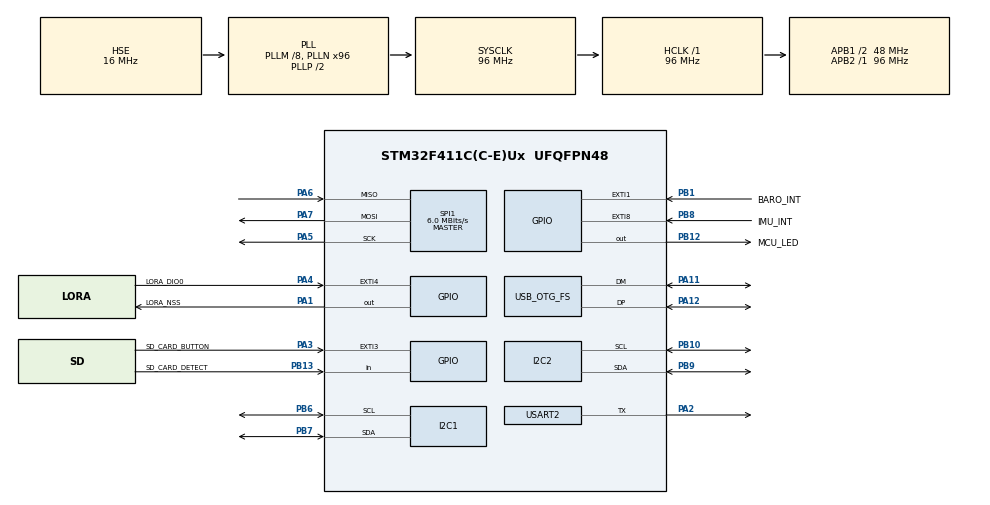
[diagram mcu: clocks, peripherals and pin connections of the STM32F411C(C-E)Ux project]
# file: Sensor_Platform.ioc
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Dma.Request0=USART2_TX
Dma.USART2_TX.0.Direction=DMA_MEMORY_TO_PERIPH
Dma.USART2_TX.0.FIFOMode=DMA_FIFOMODE_DISABLE
Dma.USART2_TX.0.Instance=DMA1_Stream6
Dma.USART2_TX.0.MemDataAlignment=DMA_MDATAALIGN_BYTE
Dma.USART2_TX.0.MemInc=DMA_MINC_ENABLE
Dma.USART2_TX.0.Mode=DMA_NORMAL
Dma.USART2_TX.0.PeriphDataAlignment=DMA_PDATAALIGN_BYTE
Dma.USART2_TX.0.PeriphInc=DMA_PINC_DISABLE
Dma.USART2_TX.0.Priority=DMA_PRIORITY_VERY_HIGH
I2C1.I2C_Mode=I2C_Standard
Mcu.Family=STM32F4
Mcu.Name=STM32F411C(C-E)Ux
Mcu.Package=UFQFPN48
NVIC.DMA1_Stream6_IRQn=true\:0\:0\:false\:false\:true\:false\:true\:true
NVIC.EXTI1_IRQn=true\:0\:0\:false\:false\:true\:true\:true\:true
NVIC.EXTI3_IRQn=true\:0\:0\:false\:false\:true\:true\:true\:true
NVIC.EXTI4_IRQn=true\:0\:0\:false\:false\:true\:true\:true\:true
NVIC.EXTI9_5_IRQn=true\:0\:0\:false\:false\:true\:true\:true\:true
NVIC.OTG_FS_IRQn=true\:0\:0\:false\:false\:true\:false\:true\:true
NVIC.PriorityGroup=NVIC_PRIORITYGROUP_4
NVIC.USART2_IRQn=true\:0\:0\:false\:false\:true\:true\:true\:true
PA1.GPIO_Label=LORA_NSS
PA1.PinState=GPIO_PIN_SET
PA1.Signal=GPIO_Output
PA11.Mode=Device_Only
PA11.Signal=USB_OTG_FS_DM
PA12.Mode=Device_Only
PA12.Signal=USB_OTG_FS_DP
PA13.Mode=Serial_Wire
PA13.Signal=SYS_JTMS-SWDIO
PA14.Mode=Serial_Wire
PA14.Signal=SYS_JTCK-SWCLK
PA2.Mode=Half_duplex(single_wire_mode)
PA2.Signal=USART2_TX
PA3.GPIO_Label=SD_CARD_BUTTON
PA3.GPIO_ModeDefaultEXTI=GPIO_MODE_IT_FALLING
PA3.GPIO_PuPd=GPIO_PULLUP
PA3.Signal=GPXTI3
PA4.GPIO_Label=LORA_DIO0
PA4.Signal=GPXTI4
PA5.Mode=Full_Duplex_Master
PA5.Signal=SPI1_SCK
PA6.Mode=Full_Duplex_Master
PA6.Signal=SPI1_MISO
PA7.Mode=Full_Duplex_Master
PA7.Signal=SPI1_MOSI
PB1.GPIO_Label=BARO_INT
PB1.Signal=GPXTI1
PB10.Mode=I2C
PB10.Signal=I2C2_SCL
PB12.GPIO_Label=MCU_LED
PB12.Signal=GPIO_Output
PB13.GPIO_Label=SD_CARD_DETECT
PB13.Signal=GPIO_Input
PB6.Mode=I2C
PB6.Signal=I2C1_SCL
PB7.Mode=I2C
PB7.Signal=I2C1_SDA
PB8.GPIO_Label=IMU_INT
PB8.Signal=GPXTI8
PB9.Mode=I2C
PB9.Signal=I2C2_SDA
PH0\ -\ OSC_IN.Mode=HSE-External-Oscillator
PH0\ -\ OSC_IN.Signal=RCC_OSC_IN
PH1\ -\ OSC_OUT.Mode=HSE-External-Oscillator
PH1\ -\ OSC_OUT.Signal=RCC_OSC_OUT
ProjectManager.HeapSize=0x2000
ProjectManager.StackSize=0x4000
ProjectManager.TargetToolchain=STM32CubeIDE
RCC.48MHZClocksFreq_Value=48000000
RCC.AHBFreq_Value=96000000
RCC.APB1CLKDivider=RCC_HCLK_DIV2
RCC.APB1Freq_Value=48000000
RCC.APB1TimFreq_Value=96000000
RCC.APB2Freq_Value=96000000
RCC.APB2TimFreq_Value=96000000
RCC.CortexFreq_Value=96000000
RCC.HCLKFreq_Value=96000000
RCC.HSE_VALUE=16000000
RCC.HSI_VALUE=16000000
RCC.LSE_VALUE=32768
RCC.PLLM=8
RCC.PLLN=96
RCC.SYSCLKFreq_VALUE=96000000
RCC.SYSCLKSource=RCC_SYSCLKSOURCE_PLLCLK
RCC.VCOOutputFreq_Value=192000000
SPI1.BaudRatePrescaler=SPI_BAUDRATEPRESCALER_16
SPI1.CalculateBaudRate=6.0 MBits/s
SPI1.Direction=SPI_DIRECTION_2LINES
SPI1.Mode=SPI_MODE_MASTER
SPI1.VirtualType=VM_MASTER
TIM11.Prescaler=95
USART2.Mode=MODE_TX
USART2.VirtualMode=VM_ASYNC
USB_DEVICE.CLASS_NAME_FS=CDC
USB_DEVICE.VirtualMode=Cdc
USB_DEVICE.VirtualModeFS=Cdc_FS
USB_OTG_FS.VirtualMode=Device_Only
VP_TIM11_VS_ClockSourceINT.Mode=Enable_Timer
VP_USB_DEVICE_VS_USB_DEVICE_CDC_FS.Mode=CDC_FS
board=custom

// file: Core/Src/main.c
/* USER CODE BEGIN Header */
/**
 ******************************************************************************
 * @file           : main.c
 * @brief          : Main program body
 ******************************************************************************
 * @attention
 *
 * Copyright (c) 2023 STMicroelectronics.
 * All rights reserved.
 *
 * This software is licensed under terms that can be found in the LICENSE file
 * in the root directory of this software component.
 * If no LICENSE file comes with this software, it is provided AS-IS.
 *
 ******************************************************************************
 */
/* USER CODE END Header */
#include "main.h"
#include "usb_device.h"

/* USER CODE BEGIN Includes */

#include "BMP280.h"
#include "MPU6050.h"
#include "LoRa.h"

/* USER CODE END Includes */

/* USER CODE BEGIN PD */
#define DENSITY_AIR_KGPM3      1.293f
#define G_MPS2                 9.807f
#define MOLAR_MASS_AIR_KG_MOL  0.029
#define UNI_GAS_CONST_NMP_MOLK 8.314
#define PRESSURE_SEA_PA        101325.0f
#define SAMP_TIM_ACC_MS        10
#define SAMP_TIM_GYRO_MS       100
#define SAMP_TIM_COM_MS        250

/* USER CODE END PD */

I2C_HandleTypeDef hi2c1;
I2C_HandleTypeDef hi2c2;

SPI_HandleTypeDef hspi1;

TIM_HandleTypeDef htim11;

UART_HandleTypeDef huart2;
DMA_HandleTypeDef hdma_usart2_tx;

/* USER CODE BEGIN PV */
LoRa Ra02;
uint16_t LoRa_status = 0;
uint8_t send_data[] = "Hello";
uint16_t status = 0;

BMP280_HandleTypedef bmp280;
float pressure, temperature, altitude;

uint8_t Baro_Data[64];
uint8_t Baro_STR_Size;
uint8_t BARO_ERROR_LED;

char UART_Data[64];
uint8_t UART_STR_Size;

char COM_Port_Data[64];
uint8_t COM_STR_Size;

//FATFS myFATFS;
//FIL myfile;
//UINT sd_error;
/* USER CODE END PV */

void SystemClock_Config(void);
static void MX_GPIO_Init(void);
static void MX_DMA_Init(void);
static void MX_I2C1_Init(void);
static void MX_I2C2_Init(void);
static void MX_USART2_UART_Init(void);
static void MX_SPI1_Init(void);
static void MX_TIM11_Init(void);

/* USER CODE BEGIN 0 */
void HAL_UART_TxCpltCallback(UART_HandleTypeDef *huart) {

}

/* USER CODE END 0 */

int main(void)
{

  /* MCU Configuration--------------------------------------------------------*/

  /* Reset of all peripherals, Initializes the Flash interface and the Systick. */
  HAL_Init();

  /* Configure the system clock */
  SystemClock_Config();

  /* Initialize all configured peripherals */
  MX_GPIO_Init();
  MX_DMA_Init();
  MX_I2C1_Init();
  MX_I2C2_Init();
  MX_USART2_UART_Init();
  MX_USB_DEVICE_Init();
  MX_SPI1_Init();
  MX_TIM11_Init();
  /* USER CODE BEGIN 2 */

	Ra02 = newLoRa();
	Ra02.CS_port = LORA_NSS_GPIO_Port;
	Ra02.CS_pin = LORA_NSS_Pin;
	Ra02.DIO0_port = LORA_DIO0_GPIO_Port;
	Ra02.DIO0_pin = LORA_DIO0_Pin;
	Ra02.hSPIx = &hspi1;
	Ra02.bandWidth = BW_500KHz;
	Ra02.overCurrentProtection = 130;
	status = LoRa_init(&Ra02);
	if (status == LORA_OK) {
		LoRa_status = 1;

	}

	bmp280_uhr_all_init(&bmp280.parameters);
	bmp280.address = BMP280_I2C_ADDRESS;
	bmp280.i2c = &hi2c2;

	while (!bmp280_init(&bmp280, &bmp280.parameters)) {
		Baro_STR_Size = sprintf((char*) Baro_Data,
				"BMP280 initialization failed\n");
		CDC_Transmit_FS((uint8_t*) Baro_Data, Baro_STR_Size);
		for (BARO_ERROR_LED = 0; BARO_ERROR_LED <= 3; BARO_ERROR_LED++) {
			HAL_GPIO_WritePin(MCU_LED_GPIO_Port, MCU_LED_Pin, GPIO_PIN_SET);
			HAL_Delay(500);
		}
		HAL_GPIO_WritePin(MCU_LED_GPIO_Port, MCU_LED_Pin, GPIO_PIN_RESET);
		HAL_Delay(2000);
	}

	DWT->CYCCNT = 0;
	MPU6050_t MPU6050;
	MPU6050_peripheral_config();
	uint8_t check = MPU6050_Init(MPU6050_Accelerometer_2G,
			MPU6050_Gyroscope_250_deg, MPU6050_DataRate_4KHz);
	if (check == MPU6050_SUCCESS) {
		printf("MPU6050 Initilalization Success\n");
	}
	MPU6050_set_power_mode(MPU6050_POWER_ON, MPU6050_rate_dont_care);
	MPU6050_enable_irq(LATCH_IRQ_EN | IRQ_RD_CLEAR);

	uint32_t timerACC = 0;
	uint32_t timerGYR = 0;
	uint32_t timerCOM = 0;

//SD CARD
//	if(f_mount(&myFATFS,SDPath,1) == FR_OK){
//		HAL_GPIO_WritePin(MCU_LED_GPIO_Port, MCU_LED_Pin, GPIO_PIN_SET);
//		HAL_Delay(500);
//		char myfilename[]="data2.txt";
//		if(f_open(&myfile,myfilename, FA_WRITE | FA_CREATE_ALWAYS) == FR_OK){
//			char myData[]="WoW_DMA";
//			if(f_write(&myfile, myData,sizeof(myData), &sd_error)==FR_OK){
//				HAL_GPIO_WritePin(MCU_LED_GPIO_Port,MCU_LED_Pin, GPIO_PIN_RESET);
//			}
//			f_close(&myfile);
//		}
//	}
//	else{
//		HAL_GPIO_WritePin(MCU_LED_GPIO_Port, MCU_LED_Pin, GPIO_PIN_SET);
//	}

  /* USER CODE END 2 */

  /* Infinite loop */
	while (1) {

    /* USER CODE BEGIN 3 */
		MPU6050_Read_All(&MPU6050);
		while (!bmp280_read(&bmp280, &temperature, &pressure)) {
			Baro_STR_Size = sprintf((char*) Baro_Data,
					"Temperature/pressure reading failed\n");
			CDC_Transmit_FS((uint8_t*) Baro_Data, Baro_STR_Size);
			HAL_Delay(2000);
		}
		altitude = -log(pressure / PRESSURE_SEA_PA)
				* (((UNI_GAS_CONST_NMP_MOLK * (273.15 + temperature))
						/ (G_MPS2 * MOLAR_MASS_AIR_KG_MOL)));

		UART_STR_Size = sprintf(UART_Data,
				"ALT(m):%d,TMP(C):%d,PTH:%.2f,ROL:%.2f\r\n",
				(int) altitude, (int) temperature, MPU6050.KalmanAngleY,
				MPU6050.KalmanAngleX);
		HAL_UART_Transmit_DMA(&huart2, (uint8_t*) UART_Data, UART_STR_Size);

		LoRa_transmit(&Ra02, (uint8_t*) UART_Data, sizeof(UART_Data),0);

	}
  /* USER CODE END 3 */
}

void SystemClock_Config(void)
{
  RCC_OscInitTypeDef RCC_OscInitStruct = {0};
  RCC_ClkInitTypeDef RCC_ClkInitStruct = {0};

  /** Configure the main internal regulator output voltage
  */
  __HAL_RCC_PWR_CLK_ENABLE();
  __HAL_PWR_VOLTAGESCALING_CONFIG(PWR_REGULATOR_VOLTAGE_SCALE1);

  /** Initializes the RCC Oscillators according to the specified parameters
  * in the RCC_OscInitTypeDef structure.
  */
  RCC_OscInitStruct.OscillatorType = RCC_OSCILLATORTYPE_HSE;
  RCC_OscInitStruct.HSEState = RCC_HSE_ON;
  RCC_OscInitStruct.PLL.PLLState = RCC_PLL_ON;
  RCC_OscInitStruct.PLL.PLLSource = RCC_PLLSOURCE_HSE;
  RCC_OscInitStruct.PLL.PLLM = 8;
  RCC_OscInitStruct.PLL.PLLN = 96;
  RCC_OscInitStruct.PLL.PLLP = RCC_PLLP_DIV2;
  RCC_OscInitStruct.PLL.PLLQ = 4;
  if (HAL_RCC_OscConfig(&RCC_OscInitStruct) != HAL_OK)
  {
    Error_Handler();
  }

  /** Initializes the CPU, AHB and APB buses clocks
  */
  RCC_ClkInitStruct.ClockType = RCC_CLOCKTYPE_HCLK|RCC_CLOCKTYPE_SYSCLK
                              |RCC_CLOCKTYPE_PCLK1|RCC_CLOCKTYPE_PCLK2;
  RCC_ClkInitStruct.SYSCLKSource = RCC_SYSCLKSOURCE_PLLCLK;
  RCC_ClkInitStruct.AHBCLKDivider = RCC_SYSCLK_DIV1;
  RCC_ClkInitStruct.APB1CLKDivider = RCC_HCLK_DIV2;
  RCC_ClkInitStruct.APB2CLKDivider = RCC_HCLK_DIV1;

  if (HAL_RCC_ClockConfig(&RCC_ClkInitStruct, FLASH_LATENCY_3) != HAL_OK)
  {
    Error_Handler();
  }
}

static void MX_I2C1_Init(void)
{

  hi2c1.Instance = I2C1;
  hi2c1.Init.ClockSpeed = 100000;
  hi2c1.Init.DutyCycle = I2C_DUTYCYCLE_2;
  hi2c1.Init.OwnAddress1 = 0;
  hi2c1.Init.AddressingMode = I2C_ADDRESSINGMODE_7BIT;
  hi2c1.Init.DualAddressMode = I2C_DUALADDRESS_DISABLE;
  hi2c1.Init.OwnAddress2 = 0;
  hi2c1.Init.GeneralCallMode = I2C_GENERALCALL_DISABLE;
  hi2c1.Init.NoStretchMode = I2C_NOSTRETCH_DISABLE;
  if (HAL_I2C_Init(&hi2c1) != HAL_OK)
  {
    Error_Handler();
  }

}

static void MX_I2C2_Init(void)
{

  hi2c2.Instance = I2C2;
  hi2c2.Init.ClockSpeed = 100000;
  hi2c2.Init.DutyCycle = I2C_DUTYCYCLE_2;
  hi2c2.Init.OwnAddress1 = 0;
  hi2c2.Init.AddressingMode = I2C_ADDRESSINGMODE_7BIT;
  hi2c2.Init.DualAddressMode = I2C_DUALADDRESS_DISABLE;
  hi2c2.Init.OwnAddress2 = 0;
  hi2c2.Init.GeneralCallMode = I2C_GENERALCALL_DISABLE;
  hi2c2.Init.NoStretchMode = I2C_NOSTRETCH_DISABLE;
  if (HAL_I2C_Init(&hi2c2) != HAL_OK)
  {
    Error_Handler();
  }

}

static void MX_SPI1_Init(void)
{

  /* SPI1 parameter configuration*/
  hspi1.Instance = SPI1;
  hspi1.Init.Mode = SPI_MODE_MASTER;
  hspi1.Init.Direction = SPI_DIRECTION_2LINES;
  hspi1.Init.DataSize = SPI_DATASIZE_8BIT;
  hspi1.Init.CLKPolarity = SPI_POLARITY_LOW;
  hspi1.Init.CLKPhase = SPI_PHASE_1EDGE;
  hspi1.Init.NSS = SPI_NSS_SOFT;
  hspi1.Init.BaudRatePrescaler = SPI_BAUDRATEPRESCALER_16;
  hspi1.Init.FirstBit = SPI_FIRSTBIT_MSB;
  hspi1.Init.TIMode = SPI_TIMODE_DISABLE;
  hspi1.Init.CRCCalculation = SPI_CRCCALCULATION_DISABLE;
  hspi1.Init.CRCPolynomial = 10;
  if (HAL_SPI_Init(&hspi1) != HAL_OK)
  {
    Error_Handler();
  }

}

static void MX_TIM11_Init(void)
{

  htim11.Instance = TIM11;
  htim11.Init.Prescaler = 95;
  htim11.Init.CounterMode = TIM_COUNTERMODE_UP;
  htim11.Init.Period = 65535;
  htim11.Init.ClockDivision = TIM_CLOCKDIVISION_DIV1;
  htim11.Init.AutoReloadPreload = TIM_AUTORELOAD_PRELOAD_DISABLE;
  if (HAL_TIM_Base_Init(&htim11) != HAL_OK)
  {
    Error_Handler();
  }

}

static void MX_USART2_UART_Init(void)
{

  huart2.Instance = USART2;
  huart2.Init.BaudRate = 115200;
  huart2.Init.WordLength = UART_WORDLENGTH_8B;
  huart2.Init.StopBits = UART_STOPBITS_1;
  huart2.Init.Parity = UART_PARITY_NONE;
  huart2.Init.Mode = UART_MODE_TX;
  huart2.Init.HwFlowCtl = UART_HWCONTROL_NONE;
  huart2.Init.OverSampling = UART_OVERSAMPLING_16;
  if (HAL_HalfDuplex_Init(&huart2) != HAL_OK)
  {
    Error_Handler();
  }

}

static void MX_DMA_Init(void)
{

  /* DMA controller clock enable */
  __HAL_RCC_DMA1_CLK_ENABLE();

  /* DMA interrupt init */
  /* DMA1_Stream6_IRQn interrupt configuration */
  HAL_NVIC_SetPriority(DMA1_Stream6_IRQn, 0, 0);
  HAL_NVIC_EnableIRQ(DMA1_Stream6_IRQn);

}

static void MX_GPIO_Init(void)
{
  GPIO_InitTypeDef GPIO_InitStruct = {0};

  /* GPIO Ports Clock Enable */
  __HAL_RCC_GPIOH_CLK_ENABLE();
  __HAL_RCC_GPIOA_CLK_ENABLE();
  __HAL_RCC_GPIOB_CLK_ENABLE();

  /*Configure GPIO pin Output Level */
  HAL_GPIO_WritePin(LORA_NSS_GPIO_Port, LORA_NSS_Pin, GPIO_PIN_SET);

  /*Configure GPIO pin Output Level */
  HAL_GPIO_WritePin(MCU_LED_GPIO_Port, MCU_LED_Pin, GPIO_PIN_RESET);

  /*Configure GPIO pin : LORA_NSS_Pin */
  GPIO_InitStruct.Pin = LORA_NSS_Pin;
  GPIO_InitStruct.Mode = GPIO_MODE_OUTPUT_PP;
  GPIO_InitStruct.Pull = GPIO_NOPULL;
  GPIO_InitStruct.Speed = GPIO_SPEED_FREQ_LOW;
  HAL_GPIO_Init(LORA_NSS_GPIO_Port, &GPIO_InitStruct);

  /*Configure GPIO pin : SD_CARD_BUTTON_Pin */
  GPIO_InitStruct.Pin = SD_CARD_BUTTON_Pin;
  GPIO_InitStruct.Mode = GPIO_MODE_IT_FALLING;
  GPIO_InitStruct.Pull = GPIO_PULLUP;
  HAL_GPIO_Init(SD_CARD_BUTTON_GPIO_Port, &GPIO_InitStruct);

  /*Configure GPIO pin : LORA_DIO0_Pin */
  GPIO_InitStruct.Pin = LORA_DIO0_Pin;
  GPIO_InitStruct.Mode = GPIO_MODE_IT_RISING;
  GPIO_InitStruct.Pull = GPIO_NOPULL;
  HAL_GPIO_Init(LORA_DIO0_GPIO_Port, &GPIO_InitStruct);

  /*Configure GPIO pins : BARO_INT_Pin IMU_INT_Pin */
  GPIO_InitStruct.Pin = BARO_INT_Pin|IMU_INT_Pin;
  GPIO_InitStruct.Mode = GPIO_MODE_IT_RISING;
  GPIO_InitStruct.Pull = GPIO_NOPULL;
  HAL_GPIO_Init(GPIOB, &GPIO_InitStruct);

  /*Configure GPIO pin : MCU_LED_Pin */
  GPIO_InitStruct.Pin = MCU_LED_Pin;
  GPIO_InitStruct.Mode = GPIO_MODE_OUTPUT_PP;
  GPIO_InitStruct.Pull = GPIO_NOPULL;
  GPIO_InitStruct.Speed = GPIO_SPEED_FREQ_LOW;
  HAL_GPIO_Init(MCU_LED_GPIO_Port, &GPIO_InitStruct);

  /*Configure GPIO pin : SD_CARD_DETECT_Pin */
  GPIO_InitStruct.Pin = SD_CARD_DETECT_Pin;
  GPIO_InitStruct.Mode = GPIO_MODE_INPUT;
  GPIO_InitStruct.Pull = GPIO_NOPULL;
  HAL_GPIO_Init(SD_CARD_DETECT_GPIO_Port, &GPIO_InitStruct);

  /* EXTI interrupt init*/
  HAL_NVIC_SetPriority(EXTI1_IRQn, 0, 0);
  HAL_NVIC_EnableIRQ(EXTI1_IRQn);

  HAL_NVIC_SetPriority(EXTI3_IRQn, 0, 0);
  HAL_NVIC_EnableIRQ(EXTI3_IRQn);

  HAL_NVIC_SetPriority(EXTI4_IRQn, 0, 0);
  HAL_NVIC_EnableIRQ(EXTI4_IRQn);

  HAL_NVIC_SetPriority(EXTI9_5_IRQn, 0, 0);
  HAL_NVIC_EnableIRQ(EXTI9_5_IRQn);

}

void Error_Handler(void)
{
	__disable_irq();
	while (1) {
	}
}
